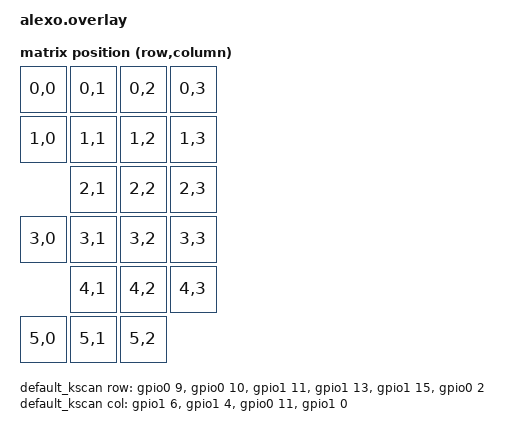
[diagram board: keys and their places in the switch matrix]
#include <dt-bindings/zmk/matrix_transform.h>

 /{
    chosen {
        zmk,kscan = &default_kscan;
        zmk,matrix_transform = &default_transform;
    };

    default_kscan: kscan {
        compatible = "zmk,kscan-gpio-matrix";
        label = "numpad_kscan";
        diode-direction = "col2row";

        row-gpios = <&gpio0 9  GPIO_ACTIVE_HIGH>,
                    <&gpio0 10 GPIO_ACTIVE_HIGH>,
                    <&gpio1 11 GPIO_ACTIVE_HIGH>,
                    <&gpio1 13 GPIO_ACTIVE_HIGH>,
                    <&gpio1 15 GPIO_ACTIVE_HIGH>,
                    <&gpio0 2  GPIO_ACTIVE_HIGH>;

        col-gpios = <&gpio1 6  GPIO_ACTIVE_HIGH>,
                    <&gpio1 4  GPIO_ACTIVE_HIGH>,
                    <&gpio0 11 GPIO_ACTIVE_HIGH>,
                    <&gpio1 0  GPIO_ACTIVE_HIGH>;
    };

    default_transform: matrix_transform {
        compatible = "zmk,matrix-transform";
        rows = <6>;
        columns = <4>;
        
        map = <
            RC(0,0) RC(0,1) RC(0,2) RC(0,3) 
            RC(1,0) RC(1,1) RC(1,2) RC(1,3) 
                    RC(2,1) RC(2,2) RC(2,3) 
            RC(3,0) RC(3,1) RC(3,2) RC(3,3) 
                    RC(4,1) RC(4,2) RC(4,3) 
            RC(5,0) RC(5,1) RC(5,2)         
        >;
    };
};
